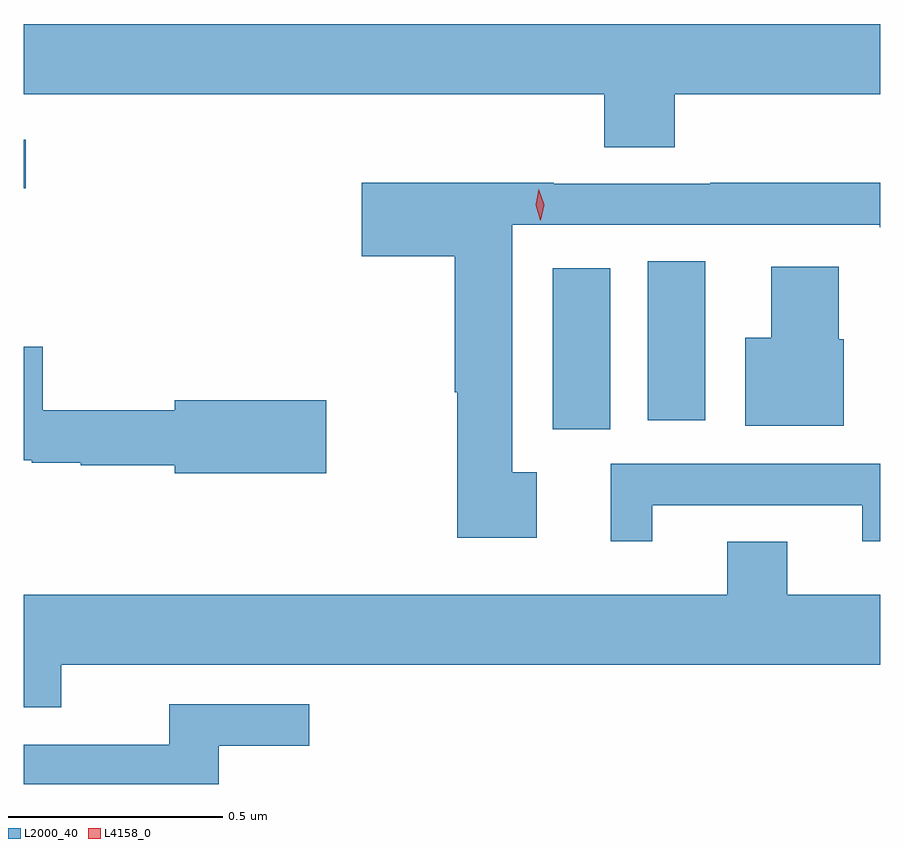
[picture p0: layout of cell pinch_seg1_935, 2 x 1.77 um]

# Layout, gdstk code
import gdstk
lib = gdstk.Library(unit=1e-6, precision=1e-09)
def R(c, l, rs):  # rectangles x0, y0, x1, y1
    for r in rs: c.add(gdstk.rectangle(r[:2], r[2:], *l))
def P(c, l, *ps):  # polygons
    for p in ps: c.add(gdstk.Polygon(p, *l))
L2000_40 = (2000, 40)
L4158_0 = (4158, 0)

pinch_seg1_935 = lib.new_cell('pinch_seg1_935')
R(pinch_seg1_935, L2000_40, [(542.312,532.302,542.446,532.678), (542.534,532.323,542.668,532.694), (541.077,532.865,541.082,532.978)])
P(pinch_seg1_935, L2000_40, [(542.597,533.084),(543.077,533.084),(543.077,533.248),(541.077,533.248),(541.077,533.084),(542.432,533.084),(542.432,532.96),(542.597,532.96)],
  [(542.275,532.202),(542.218,532.202),(542.218,532.779),(543.076,532.779),(543.076,532.774),(543.077,532.774),(543.077,532.877),(542.68,532.877),(542.68,532.875),(542.314,532.875),(542.314,532.877),(541.866,532.877),(541.866,532.706),(542.084,532.706),(542.084,532.388),(542.089,532.388),(542.089,532.049),(542.275,532.049)],
  [(542.992,532.512),(542.98,532.512),(542.98,532.681),(542.822,532.681),(542.822,532.516),(542.762,532.516),(542.762,532.31),(542.992,532.31)],
  [(541.783,532.37),(541.43,532.37),(541.43,532.346),(541.122,532.346),(541.122,532.495),(541.077,532.495),(541.077,532.23),(541.096,532.23),(541.096,532.224),(541.21,532.224),(541.21,532.218),(541.43,532.218),(541.43,532.199),(541.783,532.199)],
  [(542.545,532.125),(543.035,532.125),(543.035,532.041),(543.077,532.041),(543.077,532.221),(542.447,532.221),(542.447,532.041),(542.545,532.041)],
  [(541.165,531.752),(543.077,531.752),(543.077,531.916),(542.86,531.916),(542.86,532.04),(542.72,532.04),(542.72,531.916),(541.077,531.916),(541.077,531.653),(541.165,531.653)],
  [(541.532,531.563),(541.744,531.563),(541.744,531.66),(541.417,531.66),(541.417,531.566),(541.077,531.566),(541.077,531.474),(541.532,531.474)])
P(pinch_seg1_935, L4158_0, [(542.283,532.79),(542.283,532.79),(542.272,532.826),(542.28,532.862),(542.28,532.862),(542.28,532.862),(542.292,532.826),(542.284,532.79)])

lib.write_gds('pinch_seg1_935.gds')
